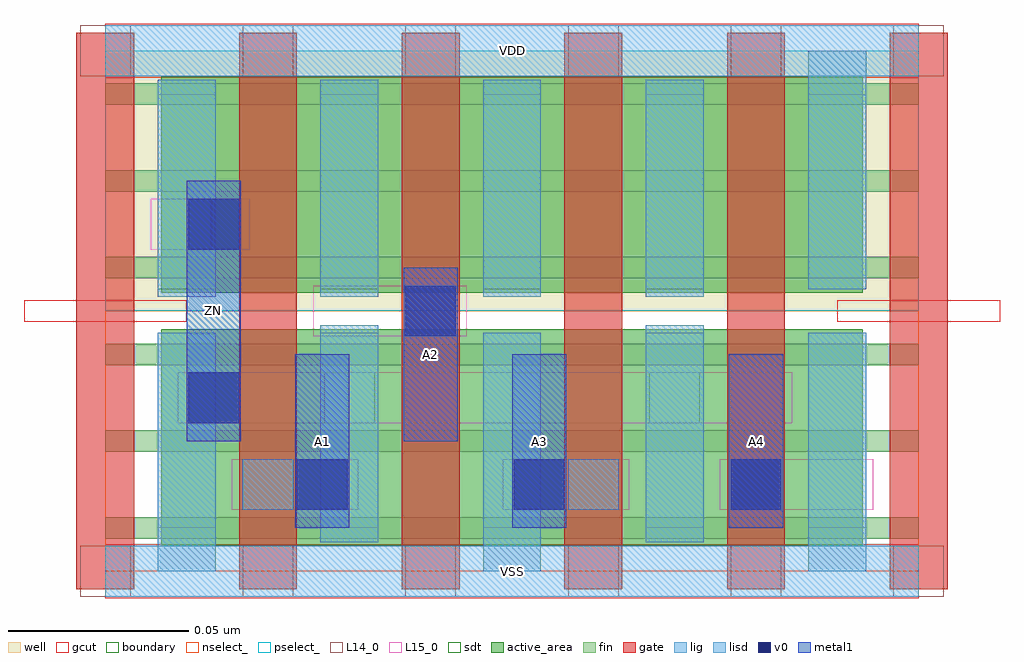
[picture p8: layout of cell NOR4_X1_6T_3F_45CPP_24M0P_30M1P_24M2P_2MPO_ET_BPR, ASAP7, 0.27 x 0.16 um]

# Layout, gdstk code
import gdstk
lib = gdstk.Library(unit=1e-6, precision=2.5e-10)
def R(c, l, rs):  # rectangles x0, y0, x1, y1
    for r in rs: c.add(gdstk.rectangle(r[:2], r[2:], *l))
def A(c, l, x, y, w, h, nx, ny, dx, dy):  # array of equal rectangles
    R(c, l, [(x+i*dx, y+j*dy, x+i*dx+w, y+j*dy+h) for i in range(nx) for j in range(ny)])
well = (1, 0)
fin = (2, 0)
gate = (7, 0)
gcut = (10, 0)
active_area = (11, 0)
nselect_ = (12, 0)
pselect_ = (13, 0)
L14_0 = (14, 0)
L15_0 = (15, 0)
lig = (16, 0)
lisd = (17, 0)
v0 = (18, 0)
metal1 = (19, 0)
sdt = (88, 0)
boundary = (100, 0)

nor4_x1_6t_3f_45cpp_24m0 = lib.new_cell('NOR4_X1_6T_3F_45CPP_24M0P_30M1P_24M2P_2MPO_ET_BPR')
R(nor4_x1_6t_3f_45cpp_24m0, well, [(0,0.072,0.225,0.144)])
A(nor4_x1_6t_3f_45cpp_24m0, fin, 0, 0.009, 0.225, 0.006, 1, 6, 0, 0.024)
A(nor4_x1_6t_3f_45cpp_24m0, gate, -0.008, -0.005, 0.016, 0.154, 6, 1, 0.045, 0)
R(nor4_x1_6t_3f_45cpp_24m0, gcut, [(0,-0.0075,0.225,0.0075), (-0.0225,0.069,0.0225,0.075), (0.2025,0.069,0.2475,0.075), (0,0.1365,0.225,0.1515)])
A(nor4_x1_6t_3f_45cpp_24m0, active_area, 0.0155, 0.007, 0.059, 0.06, 4, 2, 0.045, 0.07)
R(nor4_x1_6t_3f_45cpp_24m0, nselect_, [(0,0,0.225,0.072)])
R(nor4_x1_6t_3f_45cpp_24m0, pselect_, [(0,0.072,0.225,0.144)])
A(nor4_x1_6t_3f_45cpp_24m0, L14_0, -0.007, -0.007, 0.014, 0.014, 6, 2, 0.045, 0.144)
R(nor4_x1_6t_3f_45cpp_24m0, L14_0, [(0.038,0.017,0.052,0.031), (0.128,0.017,0.142,0.031), (0.173,0.017,0.187,0.031), (0.0605,0.041,0.0745,0.055), (0.1505,0.041,0.1645,0.055), (0.083,0.065,0.097,0.079), (0.0155,0.089,0.0295,0.103)])
R(nor4_x1_6t_3f_45cpp_24m0, L15_0, [(0,-0.007,0.225,0.007), (0.035,0.017,0.07,0.031), (0.11,0.017,0.145,0.031), (0.17,0.017,0.2125,0.031), (0.02,0.041,0.19,0.055), (0.0575,0.065,0.1,0.079), (0.0125,0.089,0.04,0.103), (0,0.137,0.225,0.151)])
R(nor4_x1_6t_3f_45cpp_24m0, lig, [(0,-0.007,0.225,0.007), (0.038,0.017,0.052,0.031), (0.128,0.017,0.142,0.031), (0.173,0.017,0.187,0.031), (0.083,0.065,0.097,0.079), (0,0.137,0.225,0.151)])
A(nor4_x1_6t_3f_45cpp_24m0, lisd, 0.0145, 0, 0.016, 0.066, 3, 1, 0.09, 0)
A(nor4_x1_6t_3f_45cpp_24m0, lisd, 0.0145, 0.076, 0.016, 0.06, 4, 1, 0.045, 0)
R(nor4_x1_6t_3f_45cpp_24m0, lisd, [(0.0595,0.008,0.0755,0.068), (0.1495,0.008,0.1655,0.068), (0.1945,0.078,0.2105,0.144)])
A(nor4_x1_6t_3f_45cpp_24m0, v0, 0.053, 0.017, 0.014, 0.014, 3, 1, 0.06, 0)
R(nor4_x1_6t_3f_45cpp_24m0, v0, [(0.023,0.041,0.037,0.055), (0.083,0.065,0.097,0.079), (0.023,0.089,0.037,0.103)])
A(nor4_x1_6t_3f_45cpp_24m0, metal1, 0.0525, 0.012, 0.015, 0.048, 3, 1, 0.06, 0)
R(nor4_x1_6t_3f_45cpp_24m0, metal1, [(0.0225,0.036,0.0375,0.108), (0.0825,0.036,0.0975,0.084)])
A(nor4_x1_6t_3f_45cpp_24m0, sdt, 0.0145, 0.012, 0.016, 0.054, 5, 2, 0.045, 0.066)
R(nor4_x1_6t_3f_45cpp_24m0, boundary, [(0,0,0.225,0.144)])
nor4_x1_6t_3f_45cpp_24m0.add(gdstk.Label('A4', (0.18,0.036), layer=19, texttype=251))
nor4_x1_6t_3f_45cpp_24m0.add(gdstk.Label('A3', (0.12,0.036), layer=19, texttype=251))
nor4_x1_6t_3f_45cpp_24m0.add(gdstk.Label('A2', (0.09,0.06), layer=19, texttype=251))
nor4_x1_6t_3f_45cpp_24m0.add(gdstk.Label('A1', (0.06,0.036), layer=19, texttype=251))
nor4_x1_6t_3f_45cpp_24m0.add(gdstk.Label('ZN', (0.03,0.072), layer=19, texttype=251))
nor4_x1_6t_3f_45cpp_24m0.add(gdstk.Label('VDD', (0.1125,0.144), layer=15, texttype=251))
nor4_x1_6t_3f_45cpp_24m0.add(gdstk.Label('VSS', (0.1125,0), layer=15, texttype=251))
nor4_x1_6t_3f_45cpp_24m0.add(gdstk.Label('VDD', (0.1125,0.144), layer=1, texttype=251))
nor4_x1_6t_3f_45cpp_24m0.add(gdstk.Label('VSS', (0.1125,0), layer=3, texttype=251))

lib.write_gds('NOR4_X1_6T_3F_45CPP_24M0P_30M1P_24M2P_2MPO_ET_BPR.gds')
